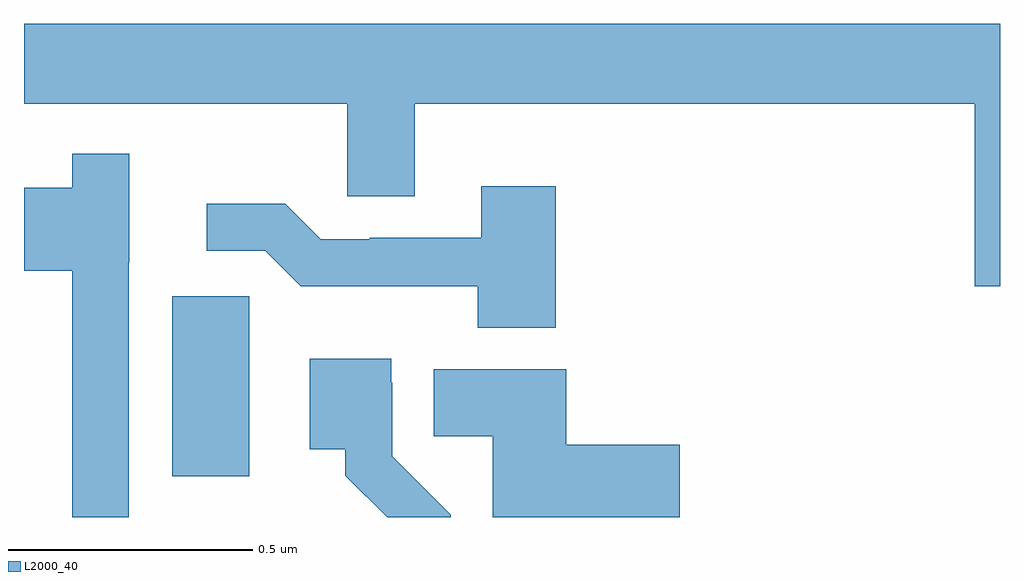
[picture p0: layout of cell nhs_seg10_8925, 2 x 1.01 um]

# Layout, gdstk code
import gdstk
lib = gdstk.Library(unit=1e-6, precision=1e-09)
def R(c, l, rs):  # rectangles x0, y0, x1, y1
    for r in rs: c.add(gdstk.rectangle(r[:2], r[2:], *l))
def P(c, l, *ps):  # polygons
    for p in ps: c.add(gdstk.Polygon(p, *l))
L2000_40 = (2000, 40)

nhs_seg10_8925 = lib.new_cell('nhs_seg10_8925')
R(nhs_seg10_8925, L2000_40, [(223.304,1267.584,223.462,1267.953)])
P(nhs_seg10_8925, L2000_40, [(225,1268.512),(223,1268.512),(223,1268.348),(223.662,1268.348),(223.662,1268.158),(223.801,1268.158),(223.801,1268.348),(224.948,1268.348),(224.948,1267.974),(225,1267.974)],
  [(223.215,1268.022),(223.216,1268.022),(223.216,1268.245),(223.099,1268.245),(223.099,1268.176),(223,1268.176),(223,1268.006),(223.099,1268.006),(223.099,1267.5),(223.215,1267.5)],
  [(224.09,1268.179),(223.937,1268.179),(223.937,1268.073),(223.708,1268.073),(223.708,1268.07),(223.608,1268.07),(223.535,1268.143),(223.374,1268.143),(223.374,1268.046),(223.494,1268.046),(223.567,1267.974),(223.93,1267.974),(223.93,1267.889),(224.09,1267.889)],
  [(223.874,1267.506),(223.755,1267.625),(223.755,1267.776),(223.753,1267.776),(223.753,1267.825),(223.586,1267.825),(223.586,1267.64),(223.658,1267.64),(223.658,1267.585),(223.744,1267.5),(223.874,1267.5)],
  [(224.344,1267.649),(224.111,1267.649),(224.111,1267.804),(223.84,1267.804),(223.84,1267.666),(223.961,1267.666),(223.961,1267.5),(224.344,1267.5)])

lib.write_gds('nhs_seg10_8925.gds')
